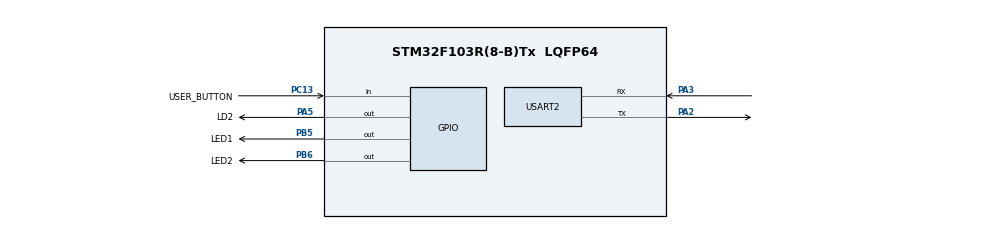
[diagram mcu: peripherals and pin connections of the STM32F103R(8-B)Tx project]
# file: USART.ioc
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Mcu.Family=STM32F1
Mcu.Name=STM32F103R(8-B)Tx
Mcu.Package=LQFP64
NVIC.PriorityGroup=NVIC_PRIORITYGROUP_4
PA13.Mode=Serial_Wire
PA13.Signal=SYS_JTMS-SWDIO
PA14.Mode=Serial_Wire
PA14.Signal=SYS_JTCK-SWCLK
PA2.Mode=Asynchronous
PA2.Signal=USART2_TX
PA3.Mode=Asynchronous
PA3.Signal=USART2_RX
PA5.GPIO_Label=LD2
PA5.Signal=GPIO_Output
PB5.GPIO_Label=LED1
PB5.Signal=GPIO_Output
PB6.GPIO_Label=LED2
PB6.Signal=GPIO_Output
PC13-TAMPER-RTC.GPIO_Label=USER_BUTTON
PC13-TAMPER-RTC.GPIO_PuPd=GPIO_PULLUP
PC13-TAMPER-RTC.Signal=GPIO_Input
ProjectManager.HeapSize=0x200
ProjectManager.StackSize=0x400
ProjectManager.TargetToolchain=STM32CubeIDE
RCC.APB1Freq_Value=8000000
RCC.APB2Freq_Value=8000000
USART2.VirtualMode=VM_ASYNC
board=custom

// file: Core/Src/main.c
/* USER CODE BEGIN Header */
/**
  ******************************************************************************
  * @file           : main.c
  * @brief          : Main program body
  ******************************************************************************
  * @attention
  *
  * <h2><center>&copy; Copyright (c) 2021 STMicroelectronics.
  * All rights reserved.</center></h2>
  *
  * This software component is licensed by ST under BSD 3-Clause license,
  * the "License"; You may not use this file except in compliance with the
  * License. You may obtain a copy of the License at:
  *                        opensource.org/licenses/BSD-3-Clause
  *
  ******************************************************************************
  */
/* USER CODE END Header */
#include "main.h"

/* USER CODE BEGIN Includes */
#include <string.h>
#include <stdio.h>
#include <stdbool.h>
/* USER CODE END Includes */

UART_HandleTypeDef huart2;

void SystemClock_Config(void);
static void MX_GPIO_Init(void);
static void MX_USART2_UART_Init(void);

/* USER CODE BEGIN 0 */
int __io_putchar(int ch)
{
    if (ch == '\n')
      {
          uint8_t ch2 = '\r';
          HAL_UART_Transmit(&huart2, &ch2, 1, HAL_MAX_DELAY);
      }
    HAL_UART_Transmit(&huart2, (uint8_t*)&ch, 1, HAL_MAX_DELAY);
    return 1;
}
/* USER CODE END 0 */

int main(void)
{

  /* MCU Configuration--------------------------------------------------------*/

  /* Reset of all peripherals, Initializes the Flash interface and the Systick. */
  HAL_Init();

  /* Configure the system clock */
  SystemClock_Config();

  /* Initialize all configured peripherals */
  MX_GPIO_Init();
  MX_USART2_UART_Init();

  /* Infinite loop */
  /* USER CODE BEGIN WHILE */
  void is_pressed(bool hit)
  {
    static int count;
    if(hit == true)
      {
	count++;
	printf("pushed %i times\r\n",count);

      }

  }
  bool Status ()
  {
    bool status = 0;
       if(HAL_GPIO_ReadPin(USER_BUTTON_GPIO_Port, USER_BUTTON_Pin) == GPIO_PIN_RESET)
 	{
 	  status = 1;
 	}
       else if(HAL_GPIO_ReadPin(USER_BUTTON_GPIO_Port, USER_BUTTON_Pin) == GPIO_PIN_SET)
 	{
 	  status = 0;
 	}
       return status;
  }

  void led_switch(bool s)
  {
    if(s == true)
      {
	HAL_GPIO_WritePin(LED1_GPIO_Port, LED1_Pin, GPIO_PIN_SET);
	HAL_GPIO_WritePin(LED2_GPIO_Port, LED2_Pin, GPIO_PIN_RESET);
      }
    else if(s == false)
      {
	HAL_GPIO_WritePin(LED1_GPIO_Port, LED1_Pin, GPIO_PIN_RESET);
	HAL_GPIO_WritePin(LED2_GPIO_Port, LED2_Pin, GPIO_PIN_SET);
      }
    else
      {
	printf("ERROR!");
      }
  }

  while (1)
  {
   if(Status() == 1)
     {
       is_pressed(1);
       led_switch(1);
       while(Status())
	 {}
     }
   if(Status() == 0)
     {
       is_pressed(0);
       led_switch(0);
       HAL_Delay(20);
     }
    /* USER CODE END WHILE */

  }
}

void SystemClock_Config(void)
{
  RCC_OscInitTypeDef RCC_OscInitStruct = {0};
  RCC_ClkInitTypeDef RCC_ClkInitStruct = {0};

  /** Initializes the RCC Oscillators according to the specified parameters
  * in the RCC_OscInitTypeDef structure.
  */
  RCC_OscInitStruct.OscillatorType = RCC_OSCILLATORTYPE_HSI;
  RCC_OscInitStruct.HSIState = RCC_HSI_ON;
  RCC_OscInitStruct.HSICalibrationValue = RCC_HSICALIBRATION_DEFAULT;
  RCC_OscInitStruct.PLL.PLLState = RCC_PLL_NONE;
  if (HAL_RCC_OscConfig(&RCC_OscInitStruct) != HAL_OK)
  {
    Error_Handler();
  }
  /** Initializes the CPU, AHB and APB buses clocks
  */
  RCC_ClkInitStruct.ClockType = RCC_CLOCKTYPE_HCLK|RCC_CLOCKTYPE_SYSCLK
                              |RCC_CLOCKTYPE_PCLK1|RCC_CLOCKTYPE_PCLK2;
  RCC_ClkInitStruct.SYSCLKSource = RCC_SYSCLKSOURCE_HSI;
  RCC_ClkInitStruct.AHBCLKDivider = RCC_SYSCLK_DIV1;
  RCC_ClkInitStruct.APB1CLKDivider = RCC_HCLK_DIV1;
  RCC_ClkInitStruct.APB2CLKDivider = RCC_HCLK_DIV1;

  if (HAL_RCC_ClockConfig(&RCC_ClkInitStruct, FLASH_LATENCY_0) != HAL_OK)
  {
    Error_Handler();
  }
}

static void MX_USART2_UART_Init(void)
{

  huart2.Instance = USART2;
  huart2.Init.BaudRate = 115200;
  huart2.Init.WordLength = UART_WORDLENGTH_8B;
  huart2.Init.StopBits = UART_STOPBITS_1;
  huart2.Init.Parity = UART_PARITY_NONE;
  huart2.Init.Mode = UART_MODE_TX_RX;
  huart2.Init.HwFlowCtl = UART_HWCONTROL_NONE;
  huart2.Init.OverSampling = UART_OVERSAMPLING_16;
  if (HAL_UART_Init(&huart2) != HAL_OK)
  {
    Error_Handler();
  }

}

static void MX_GPIO_Init(void)
{
  GPIO_InitTypeDef GPIO_InitStruct = {0};

  /* GPIO Ports Clock Enable */
  __HAL_RCC_GPIOC_CLK_ENABLE();
  __HAL_RCC_GPIOA_CLK_ENABLE();
  __HAL_RCC_GPIOB_CLK_ENABLE();

  /*Configure GPIO pin Output Level */
  HAL_GPIO_WritePin(LD2_GPIO_Port, LD2_Pin, GPIO_PIN_RESET);

  /*Configure GPIO pin Output Level */
  HAL_GPIO_WritePin(GPIOB, LED1_Pin|LED2_Pin, GPIO_PIN_RESET);

  /*Configure GPIO pin : USER_BUTTON_Pin */
  GPIO_InitStruct.Pin = USER_BUTTON_Pin;
  GPIO_InitStruct.Mode = GPIO_MODE_INPUT;
  GPIO_InitStruct.Pull = GPIO_PULLUP;
  HAL_GPIO_Init(USER_BUTTON_GPIO_Port, &GPIO_InitStruct);

  /*Configure GPIO pin : LD2_Pin */
  GPIO_InitStruct.Pin = LD2_Pin;
  GPIO_InitStruct.Mode = GPIO_MODE_OUTPUT_PP;
  GPIO_InitStruct.Pull = GPIO_NOPULL;
  GPIO_InitStruct.Speed = GPIO_SPEED_FREQ_LOW;
  HAL_GPIO_Init(LD2_GPIO_Port, &GPIO_InitStruct);

  /*Configure GPIO pins : LED1_Pin LED2_Pin */
  GPIO_InitStruct.Pin = LED1_Pin|LED2_Pin;
  GPIO_InitStruct.Mode = GPIO_MODE_OUTPUT_PP;
  GPIO_InitStruct.Pull = GPIO_NOPULL;
  GPIO_InitStruct.Speed = GPIO_SPEED_FREQ_LOW;
  HAL_GPIO_Init(GPIOB, &GPIO_InitStruct);

}

void Error_Handler(void)
{
  __disable_irq();
  while (1)
  {
  }
}

/************************ (C) COPYRIGHT STMicroelectronics *****END OF FILE****/
